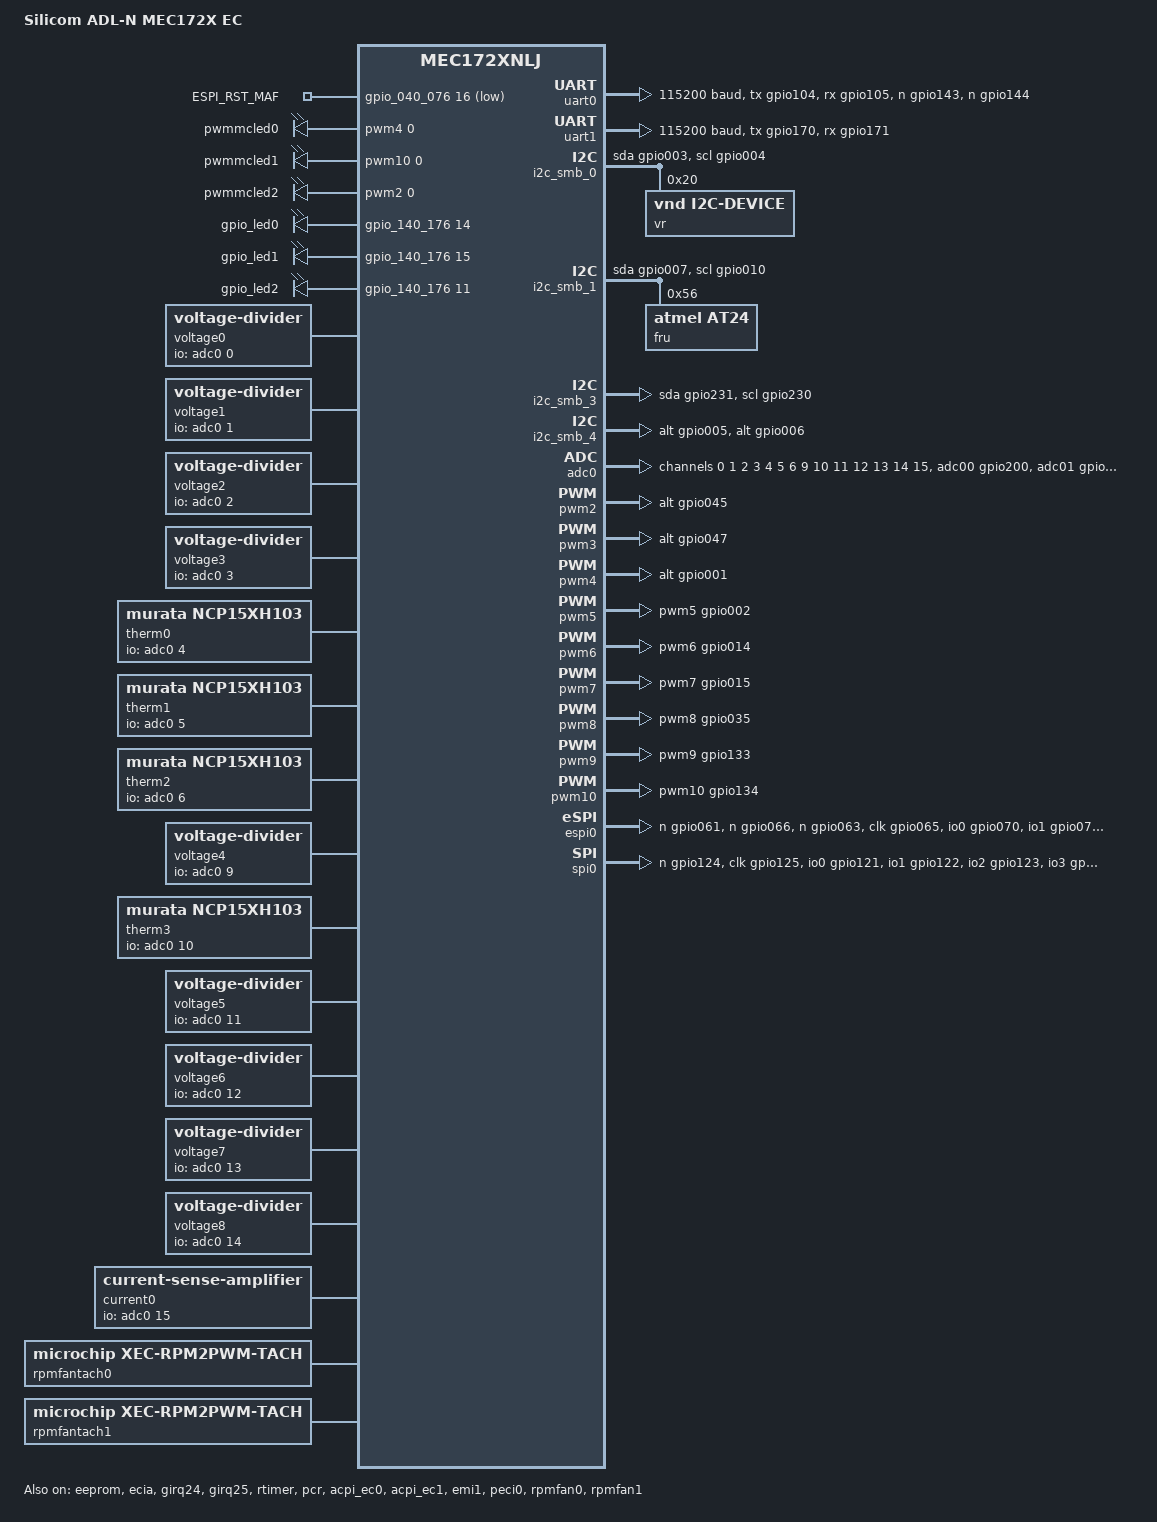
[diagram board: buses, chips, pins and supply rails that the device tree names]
/*
 * Copyright (c) 2024, Silicom Connectivity Solutions
 *
 * SPDX-License-Identifier: Apache-2.0
 */

/dts-v1/;

#include <microchip/mec172xnlj.dtsi>
#include <microchip/mec172x/mec172xnsz-pinctrl.dtsi>
#include <microchip/mec172x/mec172xnlj-pinctrl.dtsi>
#include <zephyr/dt-bindings/pwm/pwm.h>
#include <zephyr/dt-bindings/led/led.h>

/ {
	model = "Silicom ADL-N MEC172X EC";
	compatible = "microchip,mec172x_adl_n", "microchip,mec172xnlj";

	chosen {
		zephyr,sram = &sram0;
		zephyr,flash = &flash0;
		zephyr,console = &uart1;
	};

	aliases {
		i2c0 = &i2c_smb_0;
		i2c-0 = &i2c_smb_0;
		i2c3 = &i2c_smb_1;
		i2c11 = &i2c_smb_2;
		fan0 = &rpmfan0;
		fan1 = &rpmfan1;
		tach0 = &rpmfantach0;
		tach1 = &rpmfantach1;
		peci-0 = &peci0;
		led-1 = &pwmmcled0;
		eeprom0 = &eeprom;
	};

	gpio_keys {
		compatible = "gpio-keys";

		/* make a DT entry for the ESPI_RESET# input */
		espi_rst_maf: espi-rst {
			gpios = <&gpio_040_076 16 GPIO_ACTIVE_LOW>;
			label = "ESPI_RST_MAF";
		};
	};

	pwm_mc_leds: pwm_mc_leds {
		compatible = "pwm-leds-multicolor";

		pwmmcled0: pwmmcled-0 {
			pwms = <&pwm4 0 PWM_MSEC(5) PWM_POLARITY_INVERTED>,
			       <&pwm5 0 PWM_MSEC(5) PWM_POLARITY_INVERTED>,
			       <&pwm6 0 PWM_MSEC(5) PWM_POLARITY_INVERTED>;

			color-mapping = <LED_COLOR_ID_RED>,
					<LED_COLOR_ID_GREEN>,
					<LED_COLOR_ID_BLUE>;
		};
		pwmmcled1: pwmmcled-1 {
			pwms = <&pwm10 0 PWM_MSEC(5) PWM_POLARITY_INVERTED>,
		       	       <&pwm7  0 PWM_MSEC(5) PWM_POLARITY_INVERTED>,
		       	       <&pwm8  0 PWM_MSEC(5) PWM_POLARITY_INVERTED>;

			color-mapping = <LED_COLOR_ID_RED>,
					<LED_COLOR_ID_GREEN>,
					<LED_COLOR_ID_BLUE>;
		};
		pwmmcled2: pwmmcled-2 {
			pwms = <&pwm2 0 PWM_MSEC(5) PWM_POLARITY_INVERTED>,
			       <&pwm9 0 PWM_MSEC(5) PWM_POLARITY_INVERTED>,
			       <&pwm3 0 PWM_MSEC(5) PWM_POLARITY_INVERTED>;

			color-mapping = <LED_COLOR_ID_RED>,
					<LED_COLOR_ID_GREEN>,
					<LED_COLOR_ID_BLUE>;
		};
	};

	gpioled0: gpio-led0 {
		compatible = "gpio-leds";
		gpio_led0: led-0 {
			/* GPIO 156 */
			gpios = <&gpio_140_176 14 GPIO_ACTIVE_HIGH>;
		};
	};
	gpioled1: gpio-led1 {
		compatible = "gpio-leds";
		gpio_led1: led-1 {
			/* GPIO 157 */
			gpios = <&gpio_140_176 15 GPIO_ACTIVE_HIGH>;
		};
	};
	gpioled2: gpio-led2 {
		compatible = "gpio-leds";
		gpio_led2: led-2 {
			/* GPIO 153 */
			gpios = <&gpio_140_176 11 GPIO_ACTIVE_HIGH>;
		};
	};



	voltage0: voltage12v {
		compatible = "voltage-divider";
		status = "okay";
		io-channels = <&adc0 0>;
		io-channel-names = "12V";
		output-ohms = <3300>;
		full-ohms = <(10000+3300)>; 
	};
	voltage1: voltage5v {
		compatible = "voltage-divider";
		status = "okay";
		io-channels = <&adc0 1>;
		io-channel-names = "5V";
		output-ohms = <10000>;
		full-ohms = <(10000+10000)>;
	};
	voltage2: voltage3v3alwon {
		compatible = "voltage-divider";
		status = "okay";
		io-channels = <&adc0 2>;
		io-channel-names = "3.3VAlwaysOn";
		output-ohms = <1>;
		full-ohms = <1>;
	};
	voltage3: voltage1v3alwon {
		compatible = "voltage-divider";
		status = "okay";
		io-channels = <&adc0 3>;
		io-channel-names = "1.3VAlwaysOn";
		output-ohms = <1>;
		full-ohms = <1>;
	};
	therm0: thermistor-0 {
		compatible = "murata,ncp15xh103";
		io-channels = <&adc0 4>;
		pullup-uv = <3300000>;
		pullup-ohm = <3300>;
		pulldown-ohm = <0>;
		friendly-name = "Ambient";
	};
	therm1: thermistor-1 {
		compatible = "murata,ncp15xh103";
		io-channels = <&adc0 5>;
		pullup-uv = <3300000>;
		pullup-ohm = <3300>;
		pulldown-ohm = <0>;
		friendly-name = "Core VR";
	};
	therm2: thermistor-2 {
		compatible = "murata,ncp15xh103";
		io-channels = <&adc0 6>;
		pullup-uv = <3300000>;
		pullup-ohm = <3300>;
		pulldown-ohm = <0>;
		friendly-name = "DDR";
	};
	voltage4: voltage1v8 {
		compatible = "voltage-divider";
		status = "okay";
		io-channels = <&adc0 9>;
		io-channel-names = "1.8V";
		output-ohms = <1>;
		full-ohms = <1>;
	};
	therm3: thermistor-3 {
		compatible = "murata,ncp15xh103";
		io-channels = <&adc0 10>;
		pullup-uv = <3300000>;
		pullup-ohm = <3300>;
		pulldown-ohm = <0>;
		friendly-name = "CPU";
	};
	voltage5: voltagevccinaux {
		compatible = "voltage-divider";
		status = "okay";
		io-channels = <&adc0 11>;
		io-channel-names = "VCCinAux";
		output-ohms = <1>;
		full-ohms = <1>;
	};
	voltage6: voltage1v064vdd2 {
		compatible = "voltage-divider";
		status = "okay";
		io-channels = <&adc0 12>;
		io-channel-names = "1.06V_VDD2";
		output-ohms = <1>;
		full-ohms = <1>;
	};
	voltage7: voltage0v95s {
		compatible = "voltage-divider";
		status = "okay";
		io-channels = <&adc0 13>;
		io-channel-names = "0.95V";
		output-ohms = <1>;
		full-ohms = <1>;
	};
	voltage8: voltage0v5vddq {
		compatible = "voltage-divider";
		status = "okay";
		io-channels = <&adc0 14>;
		io-channel-names = "0.5V_VDDq";
		output-ohms = <1>;
		full-ohms = <1>;
	};
	current0: voutpwrmon {
		compatible = "current-sense-amplifier";
		status = "okay";
		io-channels = <&adc0 15>;
		io-channel-names = "VOUT_PWRMON";
		sense-resistor-micro-ohms = <3>;
		sense-gain-mult = <50>;
	};

	zephyr,user {
//		signal-gpios = <&gpio_100_136 1 GPIO_ACTIVE_LOW>;
		pinctrl-0 = <&gpio101 &gpio102 &gpio172 &gpio173 &gpio_uc_2>;
		pinctrl-names = "default";
	};
};

//&bbled0 {
//	compatible = "microchip,xec-bbled";
//	status = "okay";
//	pinctrl-0 = <&led0_gpio156>;
//	pinctrl-names = "default";
//};

//&bbled1 {
//	compatible = "microchip,xec-bbled";
//	status = "okay";
//	pinctrl-0 = <&led1_gpio157>;
//	pinctrl-names = "default";
//};

//&bbled2 {
//	compatible = "microchip,xec-bbled";
//	status = "okay";
//	pinctrl-0 = <&led2_gpio153>;
//	pinctrl-names = "default";
//};

&cpu0 {
	clock-frequency = <96000000>;
	status = "okay";
};

&uart0 {
	status = "okay";
	current-speed = <115200>;
	pinctrl-0 = <&uart0_tx_gpio104 &uart0_rx_gpio105
		     &uart0_cts_n_gpio143 &uart0_rts_n_gpio144>;
	pinctrl-names = "default";
};

&uart1 {
	status = "okay";
	current-speed = <115200>;
	pinctrl-0 = <&uart1_tx_gpio170 &uart1_rx_gpio171>;
	pinctrl-names = "default";
};

&eeprom {
	status = "okay";

	pinctrl-0 = <&eeprom_cs_gpio116
		     &eeprom_clk_gpio117
		     &eeprom_mosi_gpio074
		     &eeprom_miso_gpio075>;
	pinctrl-names = "default";
};

&i2c_smb_0 {
	status = "okay";
	port_sel = <0>;

	pinctrl-0 = <&i2c00_sda_gpio003
		     &i2c00_scl_gpio004>;
	pinctrl-names = "default";

	vr: vr@20 {
		compatible = "vnd,i2c-device";
		status = "okay";
		reg = <0x20>;
	};
};

&i2c_smb_1 {
	status = "okay";
	port_sel = <3>;

	pinctrl-0 = <&i2c03_sda_gpio007
                     &i2c03_scl_gpio010>;
	pinctrl-names = "default";

	fru: dev@56 {
		compatible = "atmel,at24";
		status = "okay";
		reg = <0x56>;
		size = <512>;
		address-width = <8>;
		timeout = <25>;
		pagesize = <16>;
	};

	spd: dev@54 {
		compatible = "atmel,at24";
		status = "disabled";
		reg = <0x54>;
		size = <256>;
		address-width = <8>;
		timeout = <25>;
		pagesize = <16>;
	};
};

&i2c_smb_2 {
	status = "disabled";
	port_sel = <5>;
	
	pinctrl-0 = <&i2c05_sda_gpio141 &i2c05_scl_gpio142>;
	pinctrl-names = "default";
};

&i2c_smb_3 {
	status = "okay";
	port_sel = <8>;

	pinctrl-0 = <&i2c08_sda_gpio231 &i2c08_scl_gpio230>;
	pinctrl-names = "default";
};

&i2c_smb_4 {
	status = "okay";
	port_sel = <11>;

	pinctrl-0 = <&i2c11_sda_alt_gpio005 &i2c11_scl_alt_gpio006>;
	pinctrl-names = "default";
};

&i2c03_sda_gpio007 {
	drive-open-drain;
	output-high;
};

&i2c03_scl_gpio010 {
	drive-open-drain;
	output-high;
};

&i2c05_sda_gpio141 {
	drive-open-drain;
	output-high;
};

&i2c05_scl_gpio142 {
	drive-open-drain;
	output-high;
};

&adc0 {
	status = "okay";
	pinctrl-0 = <&adc00_gpio200 &adc01_gpio201
		     &adc02_gpio202 &adc03_gpio203
		     &adc04_gpio204 &adc05_gpio205
		     &adc06_gpio206
		     &adc09_gpio211 &adc10_gpio212
		     &adc11_gpio213 &adc12_gpio214
		     &adc13_gpio215 &adc14_gpio216
		     &adc15_gpio217>;
	pinctrl-names = "default";

	#address-cells = <1>;
	#size-cells = <0>;

	channel@0 {
		reg = <0>;
		zephyr,gain = "ADC_GAIN_1";
		zephyr,reference = "ADC_REF_INTERNAL";
		zephyr,resolution = <10>;
		zephyr,vref-mv = <3300>;
		zephyr,acquisition-time = <ADC_ACQ_TIME_DEFAULT>;
	};

	channel@1 {
		reg = <1>;
		zephyr,gain = "ADC_GAIN_1";
		zephyr,reference = "ADC_REF_INTERNAL";
		zephyr,resolution = <10>;
		zephyr,vref-mv = <3300>;
		zephyr,acquisition-time = <ADC_ACQ_TIME_DEFAULT>;
	};

	channel@2 {
		reg = <2>;
		zephyr,gain = "ADC_GAIN_1";
		zephyr,reference = "ADC_REF_INTERNAL";
		zephyr,resolution = <10>;
		zephyr,vref-mv = <3300>;
		zephyr,acquisition-time = <ADC_ACQ_TIME_DEFAULT>;
	};

	channel@3 {
		reg = <3>;
		zephyr,gain = "ADC_GAIN_1";
		zephyr,reference = "ADC_REF_INTERNAL";
		zephyr,resolution = <10>;
		zephyr,vref-mv = <3300>;
		zephyr,acquisition-time = <ADC_ACQ_TIME_DEFAULT>;
	};

	channel@4 {
		reg = <4>;
		zephyr,gain = "ADC_GAIN_1";
		zephyr,reference = "ADC_REF_INTERNAL";
		zephyr,resolution = <10>;
		zephyr,acquisition-time = <ADC_ACQ_TIME_DEFAULT>;
	};

	channel@5 {
		reg = <5>;
		zephyr,gain = "ADC_GAIN_1";
		zephyr,reference = "ADC_REF_INTERNAL";
		zephyr,resolution = <10>;
		zephyr,acquisition-time = <ADC_ACQ_TIME_DEFAULT>;
	};

	channel@6 {
		reg = <6>;
		zephyr,gain = "ADC_GAIN_1";
		zephyr,reference = "ADC_REF_INTERNAL";
		zephyr,resolution = <10>;
		zephyr,acquisition-time = <ADC_ACQ_TIME_DEFAULT>;
	};

	channel@9 {
		reg = <9>;
		zephyr,gain = "ADC_GAIN_1";
		zephyr,reference = "ADC_REF_INTERNAL";
		zephyr,resolution = <10>;
		zephyr,vref-mv = <3300>;
		zephyr,acquisition-time = <ADC_ACQ_TIME_DEFAULT>;
	};

	channel@a {
		reg = <10>;
		zephyr,gain = "ADC_GAIN_1";
		zephyr,reference = "ADC_REF_INTERNAL";
		zephyr,resolution = <10>;
		zephyr,acquisition-time = <ADC_ACQ_TIME_DEFAULT>;
	};

	channel@b {
		reg = <11>;
		zephyr,gain = "ADC_GAIN_1";
		zephyr,reference = "ADC_REF_INTERNAL";
		zephyr,resolution = <10>;
		zephyr,vref-mv = <3300>;
		zephyr,acquisition-time = <ADC_ACQ_TIME_DEFAULT>;
	};

	channel@c {
		reg = <12>;
		zephyr,gain = "ADC_GAIN_1";
		zephyr,reference = "ADC_REF_INTERNAL";
		zephyr,resolution = <10>;
		zephyr,vref-mv = <3300>;
		zephyr,acquisition-time = <ADC_ACQ_TIME_DEFAULT>;
	};

	channel@d {
		reg = <13>;
		zephyr,gain = "ADC_GAIN_1";
		zephyr,reference = "ADC_REF_INTERNAL";
		zephyr,resolution = <10>;
		zephyr,vref-mv = <3300>;
		zephyr,acquisition-time = <ADC_ACQ_TIME_DEFAULT>;
	};

	channel@e {
		reg = <14>;
		zephyr,gain = "ADC_GAIN_1";
		zephyr,reference = "ADC_REF_INTERNAL";
		zephyr,resolution = <10>;
		zephyr,vref-mv = <3300>;
		zephyr,acquisition-time = <ADC_ACQ_TIME_DEFAULT>;
	};

	channel@f {
		reg = <15>;
		zephyr,gain = "ADC_GAIN_1";
		zephyr,reference = "ADC_REF_INTERNAL";
		zephyr,resolution = <10>;
		zephyr,vref-mv = <3300>;
		zephyr,acquisition-time = <ADC_ACQ_TIME_DEFAULT>;
	};

};

//&pwm0 {
//	status = "okay";
//	pinctrl-0 = <&pwm0_gpio053>;
//	pinctrl-names = "default";
//};
//
//&pwm1 {
//	status = "okay";
//	pinctrl-0 = <&pwm1_gpio054>;
//	pinctrl-names = "default";
//};
//
//&tach0 {
//	status = "okay";
//	pinctrl-0 = <&tach0_gpio050>;
//	pinctrl-names = "default";
//};
//
//&tach1 {
//	status = "okay";
//	pinctrl-0 = <&tach1_gpio051>;
//	pinctrl-names = "default";
//};

&pwm2 {
	status = "okay";
	pinctrl-0 = <&pwm2_alt_gpio045>;
	pinctrl-names = "default";
};

&pwm3 {
	status = "okay";
	pinctrl-0 = <&pwm3_alt_gpio047>;
	pinctrl-names = "default";
};

&pwm4 {
	status = "okay";
	pinctrl-0 = <&pwm4_alt_gpio001>;
	pinctrl-names = "default";
};

&pwm5 {
	status = "okay";
	pinctrl-0 = <&pwm5_gpio002>;
	pinctrl-names = "default";
};

&pwm6 {
	status = "okay";
	pinctrl-0 = <&pwm6_gpio014>;
	pinctrl-names = "default";
};

&pwm7 {
	status = "okay";
	pinctrl-0 = <&pwm7_gpio015>;
	pinctrl-names = "default";
};

&pwm8 {
	status = "okay";
	pinctrl-0 = <&pwm8_gpio035>;
	pinctrl-names = "default";
};

&pwm9 {
	status = "okay";
	pinctrl-0 = <&pwm9_gpio133>;
	pinctrl-names = "default";
};

&pwm10 {
	status = "okay";
	pinctrl-0 = <&pwm10_gpio134>;
	pinctrl-names = "default";
};

/* Initialize ECIA. Does not initialize child devices */
&ecia {
	status = "okay";
};

/* Enable aggregated GIRQ24 and GIRQ25 for eSPI virtual wires interrupts */
&girq24 {
	status = "okay";
};

&girq25 {
	status = "okay";
};

&rtimer {
	status = "okay";
};

&pcr {
	status = "okay";
};

&espi0 {
	status = "okay";
	pinctrl-0 = < &espi_reset_n_gpio061 &espi_cs_n_gpio066
		      &espi_alert_n_gpio063 &espi_clk_gpio065
		      &espi_io0_gpio070 &espi_io1_gpio071
		      &espi_io2_gpio072 &espi_io3_gpio073 >;
	pinctrl-names = "default";
};

&spi0 {
	status = "okay";
	pinctrl-0 = < &pvt_cs_n_gpio124
		      &pvt_clk_gpio125
		      &pvt_io0_gpio121
		      &pvt_io1_gpio122
		      &pvt_io2_gpio123
		      &pvt_io3_gpio126 >;

	pinctrl-names = "default";
};

&acpi_ec0 {
	status = "okay";
};

&acpi_ec1 {
	status = "okay";
};

&emi1 {
	status = "okay";
};

&peci0 {
	status = "okay";
	pinctrl-0 = <&peci_dat_gpio042>;
	pinctrl-names = "default";
};

&rpmfan0 {
	compatible = "microchip,xec-rpm2pwm";
	status = "okay";
	pinctrl-0 = <&gpwm0_gpio053 &gtach0_gpio050>;
	pinctrl-names = "default";
	spinup_time = "RPM2PWM_SPINUP_2S";
	spinup_level = "RPM2PWM_SPINUP_LVL_50%";
	update = "RPM2PWM_UPDATE_1600MS";
	spinup_nokick;
	enable_ramp_control;
	manual_mode;
	#pwm-cells = <3>;

	rpmfantach0: rpmfan_tach0 {
		compatible = "microchip,xec-rpm2pwm-tach";
		status = "okay";
	};

	fan {
		fan0: fan {
			pwms = <&rpmfan0 0 PWM_MSEC(30) 0>;
			edges = <5>;
		};
	};
};

&rpmfan1 {
	compatible = "microchip,xec-rpm2pwm";
	status = "okay";
	pinctrl-0 = <&gpwm1_gpio054 &gtach1_gpio051>;
	pinctrl-names = "default";
	spinup_time = "RPM2PWM_SPINUP_2S";
	spinup_level = "RPM2PWM_SPINUP_LVL_50%";
	update = "RPM2PWM_UPDATE_1600MS";
	spinup_nokick;
	enable_ramp_control;
	manual_mode;

	#pwm-cells = <3>;

	rpmfantach1: rpmfan_tach1 {
		compatible = "microchip,xec-rpm2pwm-tach";
		status = "okay";
	};

	fan {
		fan1: fan {
			pwms = <&rpmfan1 0 PWM_MSEC(30) 0>;
			edges = <5>;
		};
	};
};

&pinctrl {
	gpio101: gpio101 {
		pinmux = < MCHP_XEC_PINMUX(0101, MCHP_AF0) >;
		bias-disable;
	};
	gpio102: gpio102 {
		pinmux = < MCHP_XEC_PINMUX(0102, MCHP_AF0) >;
		bias-disable;
	};
	gpio172: gpio172 {
		pinmux = < MCHP_XEC_PINMUX(0172, MCHP_AF0) >;
		bias-disable;
	};
	gpio173: gpio173 {
		pinmux = < MCHP_XEC_PINMUX(0173, MCHP_AF0) >;
		bias-disable;
	};
	gpio_uc_0: gpio112 {
		pinmux = < MCHP_XEC_PINMUX(112, MCHP_GPIO) >;
		bias-pull-down;
	};
	gpio_uc_1: gpio113 {
		pinmux = < MCHP_XEC_PINMUX(113, MCHP_GPIO) >;
		bias-pull-down;
	};
	gpio_uc_2: gpio025 {
		pinmux = < MCHP_XEC_PINMUX(025, MCHP_GPIO) >;
		bias-pull-down;
	};
};
